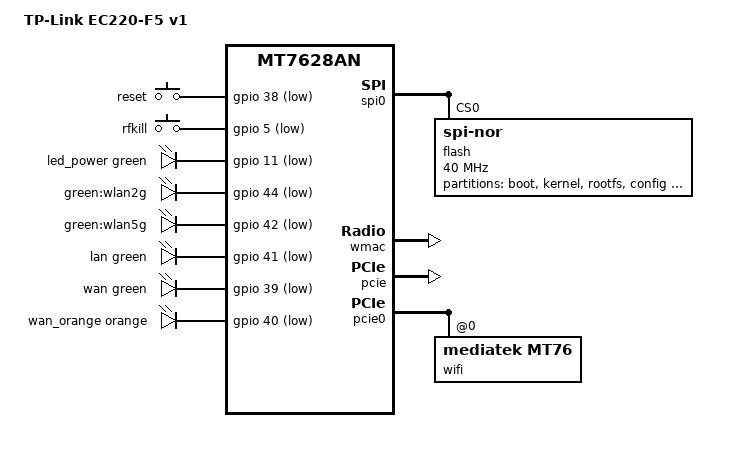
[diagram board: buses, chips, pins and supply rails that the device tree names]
// SPDX-License-Identifier: GPL-2.0-or-later OR MIT

#include <dt-bindings/gpio/gpio.h>
#include <dt-bindings/input/input.h>
#include <dt-bindings/leds/common.h>

#include "mt7628an.dtsi"

/ {
	compatible = "tplink,ec220-f5-v1", "mediatek,mt7628an-soc";
	model = "TP-Link EC220-F5 v1";

	chosen {
		bootargs = "console=ttyS0,115200";
	};

	aliases {
		label-mac-device = &ethernet;
		led-boot = &led_power;
		led-failsafe = &led_power;
		led-running = &led_power;
		led-upgrade = &led_power;
	};

	keys {
		compatible = "gpio-keys";

		reset {
			label = "reset";
			gpios = <&gpio 38 GPIO_ACTIVE_LOW>;
			linux,code = <KEY_RESTART>;
		};

		rfkill {
			label = "rfkill";
			gpios = <&gpio 5 GPIO_ACTIVE_LOW>;
			linux,code = <KEY_RFKILL>;
		};
	};

	leds {
		compatible = "gpio-leds";

		led_power: power {
			function = LED_FUNCTION_POWER;
			color = <LED_COLOR_ID_GREEN>;
			gpios = <&gpio 11 GPIO_ACTIVE_LOW>;
		};

		wlan2 {
			label = "green:wlan2g";
			gpios = <&gpio 44 GPIO_ACTIVE_LOW>;
		};

		wlan5 {
			label = "green:wlan5g";
			gpios = <&gpio 42 GPIO_ACTIVE_LOW>;
		};

		lan {
			function = LED_FUNCTION_LAN;
			color = <LED_COLOR_ID_GREEN>;
			gpios = <&gpio 41 GPIO_ACTIVE_LOW>;
		};

		wan {
			function = LED_FUNCTION_WAN;
			color = <LED_COLOR_ID_GREEN>;
			gpios = <&gpio 39 GPIO_ACTIVE_LOW>;
		};

		wan_orange {
			function = LED_FUNCTION_WAN;
			color = <LED_COLOR_ID_ORANGE>;
			gpios = <&gpio 40 GPIO_ACTIVE_LOW>;
		};
	};
};

&spi0 {
	status = "okay";

	flash@0 {
		compatible = "jedec,spi-nor";
		reg = <0>;
		spi-max-frequency = <40000000>;

		partitions {
			compatible = "fixed-partitions";
			#address-cells = <1>;
			#size-cells = <1>;

			partition@0 {
				label = "boot";
				reg = <0x000000 0x020000>;
				read-only;
			};

			partition@20000 {
				label = "kernel";
				reg = <0x020000 0x210000>;
				read-only;
			};

			partition@230000 {
				label = "rootfs";
				reg = <0x230000 0x590000>;
			};

			partition@7c0000 {
				label = "config";
				reg = <0x7c0000 0x010000>;
				read-only;
			};

			partition@7d0000 {
				label = "rom";
				reg = <0x7d0000 0x010000>;
				read-only;

				nvmem-layout {
					compatible = "fixed-layout";
					#address-cells = <1>;
					#size-cells = <1>;

					macaddr_rom_f100: macaddr@f100 {
						compatible = "mac-base";
						reg = <0xf100 0x6>;
						#nvmem-cell-cells = <1>;
					};
				};
			};

			partition@7e0000 {
				label = "romfile";
				reg = <0x7e0000 0x010000>;
			};

			partition@7f0000 {
				label = "radio";
				reg = <0x7f0000 0x010000>;
				read-only;

				nvmem-layout {
					compatible = "fixed-layout";
					#address-cells = <1>;
					#size-cells = <1>;

					eeprom_radio_0: eeprom@0 {
						reg = <0x0000 0x400>;
					};

					eeprom_radio_8000: eeprom@8000 {
						reg = <0x8000 0x4da8>;
					};
				};
			};
		};
	};
};

&wmac {
	status = "okay";
	nvmem-cells = <&eeprom_radio_0>, <&macaddr_rom_f100 0>;
	nvmem-cell-names = "eeprom", "mac-address";
};

&ethernet {
	nvmem-cells = <&macaddr_rom_f100 0>;
	nvmem-cell-names = "mac-address";
};

&esw {
	mediatek,portmap = <0x3e>;
};

&ehci {
	status = "disabled";
};

&ohci {
	status = "disabled";
};

&state_default {
	gpio {
		groups = "i2c", "p0led_an", "p1led_an", "p2led_an",
			 "p3led_an", "p4led_an", "wdt", "wled_an";
		function = "gpio";
	};
};

&pcie {
	status = "okay";
};

&pcie0 {
	wifi@0,0 {
		compatible = "mediatek,mt76";
		reg = <0x0000 0 0 0 0>;
		ieee80211-freq-limit = <5000000 6000000>;
		nvmem-cells = <&eeprom_radio_8000>, <&macaddr_rom_f100 (-1)>;
		nvmem-cell-names = "eeprom", "mac-address";
	};
};
